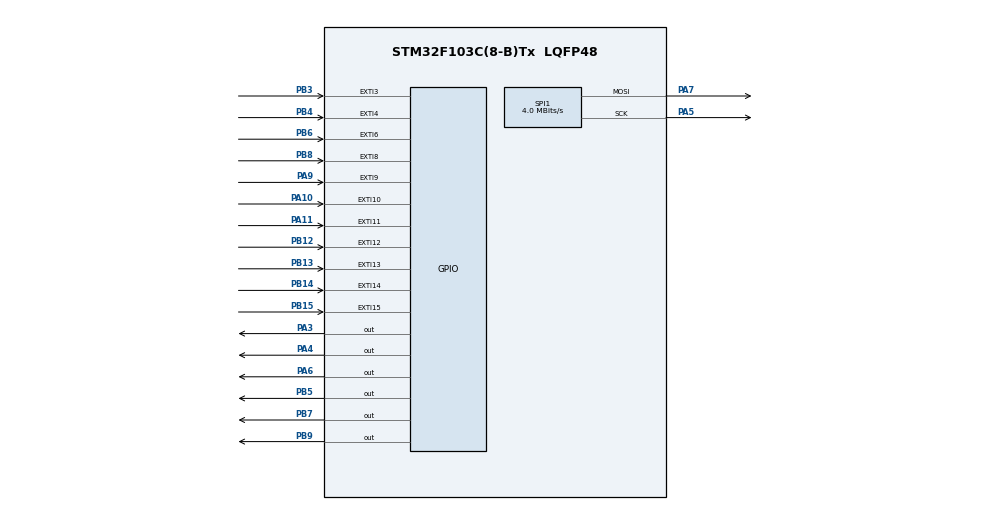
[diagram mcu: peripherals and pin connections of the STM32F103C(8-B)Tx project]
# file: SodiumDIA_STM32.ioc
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Mcu.Family=STM32F1
Mcu.Name=STM32F103C(8-B)Tx
Mcu.Package=LQFP48
NVIC.EXTI15_10_IRQn=true\:0\:0\:false\:false\:true\:true\:true\:true
NVIC.EXTI3_IRQn=true\:0\:0\:false\:false\:true\:true\:true\:true
NVIC.EXTI4_IRQn=true\:0\:0\:false\:false\:true\:true\:true\:true
NVIC.EXTI9_5_IRQn=true\:0\:0\:false\:false\:true\:true\:true\:true
NVIC.PriorityGroup=NVIC_PRIORITYGROUP_4
PA10.Signal=GPXTI10
PA11.Signal=GPXTI11
PA13.Mode=Serial_Wire
PA13.Signal=SYS_JTMS-SWDIO
PA14.Mode=Serial_Wire
PA14.Signal=SYS_JTCK-SWCLK
PA3.Signal=GPIO_Output
PA4.Signal=GPIO_Output
PA5.Mode=TX_Only_Simplex_Unidirect_Master
PA5.Signal=SPI1_SCK
PA6.Signal=GPIO_Output
PA7.Mode=TX_Only_Simplex_Unidirect_Master
PA7.Signal=SPI1_MOSI
PA9.Signal=GPXTI9
PB10.Signal=I2C2_SCL
PB11.Signal=I2C2_SDA
PB12.Signal=GPXTI12
PB13.Signal=GPXTI13
PB14.Signal=GPXTI14
PB15.Signal=GPXTI15
PB3.GPIO_PuPd=GPIO_PULLDOWN
PB3.Signal=GPXTI3
PB4.GPIO_PuPd=GPIO_PULLDOWN
PB4.Signal=GPXTI4
PB5.Signal=GPIO_Output
PB6.GPIO_PuPd=GPIO_PULLDOWN
PB6.Signal=GPXTI6
PB7.Signal=GPIO_Output
PB8.GPIO_PuPd=GPIO_PULLDOWN
PB8.Signal=GPXTI8
PB9.Signal=GPIO_Output
ProjectManager.HeapSize=0x200
ProjectManager.StackSize=0x400
ProjectManager.TargetToolchain=Makefile
RCC.APB1Freq_Value=8000000
RCC.APB2Freq_Value=8000000
SPI1.CalculateBaudRate=4.0 MBits/s
SPI1.Direction=SPI_DIRECTION_2LINES
SPI1.Mode=SPI_MODE_MASTER
SPI1.VirtualType=VM_MASTER
board=custom

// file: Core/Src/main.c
/* USER CODE BEGIN Header */
/**
 ******************************************************************************
 * @file           : main.c
 * @brief          : Main program body
 ******************************************************************************
 * @attention
 *
 * Copyright (c) 2026 STMicroelectronics.
 * All rights reserved.
 *
 * This software is licensed under terms that can be found in the LICENSE file
 * in the root directory of this software component.
 * If no LICENSE file comes with this software, it is provided AS-IS.
 *
 ******************************************************************************
 */
/* USER CODE END Header */
#include "main.h"

/* USER CODE BEGIN Includes */
#include "st7735.h"
#include "font.h"
#include "gui.h"
#include "app.h"
/* USER CODE END Includes */

SPI_HandleTypeDef hspi1;

void SystemClock_Config(void);
static void MX_GPIO_Init(void);
static void MX_SPI1_Init(void);

int main(void)
{

  /* MCU Configuration--------------------------------------------------------*/

  /* Reset of all peripherals, Initializes the Flash interface and the Systick. */
  HAL_Init();

  /* Configure the system clock */
  SystemClock_Config();

  /* Initialize all configured peripherals */
  MX_GPIO_Init();
  MX_SPI1_Init();
  /* USER CODE BEGIN 2 */
  uint8_t i = 0;
  uint8_t j = 0;
  ST7735_Init();
  /* USER CODE END 2 */

  /* Infinite loop */
  /* USER CODE BEGIN WHILE */
  ST7735_Select();
  ST7735_DrawRect(0, 0, ST7735_X_SIZE, ST7735_Y_SIZE, ST7735_COLOR_BLACK);
  ST7735_Deselect();
  uint16_t color_bg = 0;

  compile_gui();
  draw_gui();

  while (1)
  {
    ask_keyboard();
    /* USER CODE END WHILE */

    /* USER CODE BEGIN 3 */
    // ST7735_Select();
    // ST7735_DrawRect(0, 0, ST7735_X_SIZE, ST7735_Y_SIZE, ST7735_COLOR_RED);
    // ST7735_DrawRect(0, 0, ST7735_X_SIZE, ST7735_Y_SIZE, ST7735_COLOR_GREEN);
    // ST7735_DrawRect(0, 0, ST7735_X_SIZE, ST7735_Y_SIZE, ST7735_COLOR_BLUE);
    // ST7735_DrawRect(0, 0, ST7735_X_SIZE, ST7735_Y_SIZE, ST7735_COLOR_YELLOW);
    // ST7735_DrawRect(0, 0, ST7735_X_SIZE, ST7735_Y_SIZE, ST7735_COLOR_WHITE);
    // ST7735_DrawRect(0, 0, ST7735_X_SIZE, ST7735_Y_SIZE, ST7735_COLOR_BLACK);
    // ST7735_DrawRect(0, 0, ST7735_X_SIZE, ST7735_Y_SIZE, ST7735_COLOR_ORANGE);
    // ST7735_Deselect();
  }
  /* USER CODE END 3 */
}

void SystemClock_Config(void)
{
  RCC_OscInitTypeDef RCC_OscInitStruct = {0};
  RCC_ClkInitTypeDef RCC_ClkInitStruct = {0};

  /** Initializes the RCC Oscillators according to the specified parameters
   * in the RCC_OscInitTypeDef structure.
   */
  RCC_OscInitStruct.OscillatorType = RCC_OSCILLATORTYPE_HSI;
  RCC_OscInitStruct.HSIState = RCC_HSI_ON;
  RCC_OscInitStruct.HSICalibrationValue = RCC_HSICALIBRATION_DEFAULT;
  RCC_OscInitStruct.PLL.PLLState = RCC_PLL_NONE;
  if (HAL_RCC_OscConfig(&RCC_OscInitStruct) != HAL_OK)
  {
    Error_Handler();
  }

  /** Initializes the CPU, AHB and APB buses clocks
   */
  RCC_ClkInitStruct.ClockType = RCC_CLOCKTYPE_HCLK | RCC_CLOCKTYPE_SYSCLK | RCC_CLOCKTYPE_PCLK1 | RCC_CLOCKTYPE_PCLK2;
  RCC_ClkInitStruct.SYSCLKSource = RCC_SYSCLKSOURCE_HSI;
  RCC_ClkInitStruct.AHBCLKDivider = RCC_SYSCLK_DIV1;
  RCC_ClkInitStruct.APB1CLKDivider = RCC_HCLK_DIV1;
  RCC_ClkInitStruct.APB2CLKDivider = RCC_HCLK_DIV1;

  if (HAL_RCC_ClockConfig(&RCC_ClkInitStruct, FLASH_LATENCY_0) != HAL_OK)
  {
    Error_Handler();
  }
}

static void MX_SPI1_Init(void)
{

  /* SPI1 parameter configuration*/
  hspi1.Instance = SPI1;
  hspi1.Init.Mode = SPI_MODE_MASTER;
  hspi1.Init.Direction = SPI_DIRECTION_2LINES;
  hspi1.Init.DataSize = SPI_DATASIZE_8BIT;
  hspi1.Init.CLKPolarity = SPI_POLARITY_LOW;
  hspi1.Init.CLKPhase = SPI_PHASE_1EDGE;
  hspi1.Init.NSS = SPI_NSS_SOFT;
  hspi1.Init.BaudRatePrescaler = SPI_BAUDRATEPRESCALER_2;
  hspi1.Init.FirstBit = SPI_FIRSTBIT_MSB;
  hspi1.Init.TIMode = SPI_TIMODE_DISABLE;
  hspi1.Init.CRCCalculation = SPI_CRCCALCULATION_DISABLE;
  hspi1.Init.CRCPolynomial = 10;
  if (HAL_SPI_Init(&hspi1) != HAL_OK)
  {
    Error_Handler();
  }
}

static void MX_GPIO_Init(void)
{
  GPIO_InitTypeDef GPIO_InitStruct = {0};

  /* GPIO Ports Clock Enable */
  __HAL_RCC_GPIOA_CLK_ENABLE();
  __HAL_RCC_GPIOB_CLK_ENABLE();

  /*Configure GPIO pin Output Level */
  HAL_GPIO_WritePin(GPIOA, GPIO_PIN_3 | GPIO_PIN_4 | GPIO_PIN_6, GPIO_PIN_RESET);

  /*Configure GPIO pin Output Level */
  HAL_GPIO_WritePin(GPIOB, GPIO_PIN_5 | GPIO_PIN_7 | GPIO_PIN_9, GPIO_PIN_RESET);

  /*Configure GPIO pins : PA3 PA4 PA6 */
  GPIO_InitStruct.Pin = GPIO_PIN_3 | GPIO_PIN_4 | GPIO_PIN_6;
  GPIO_InitStruct.Mode = GPIO_MODE_OUTPUT_PP;
  GPIO_InitStruct.Pull = GPIO_NOPULL;
  GPIO_InitStruct.Speed = GPIO_SPEED_FREQ_LOW;
  HAL_GPIO_Init(GPIOA, &GPIO_InitStruct);

  /*Configure GPIO pins : PB10 PB11 */
  GPIO_InitStruct.Pin = GPIO_PIN_10 | GPIO_PIN_11;
  GPIO_InitStruct.Mode = GPIO_MODE_AF_OD;
  GPIO_InitStruct.Speed = GPIO_SPEED_FREQ_HIGH;
  HAL_GPIO_Init(GPIOB, &GPIO_InitStruct);

  /*Configure GPIO pins : PB12 PB13 PB14 PB15 */
  GPIO_InitStruct.Pin = GPIO_PIN_12 | GPIO_PIN_13 | GPIO_PIN_14 | GPIO_PIN_15;
  GPIO_InitStruct.Mode = GPIO_MODE_IT_RISING;
  GPIO_InitStruct.Pull = GPIO_NOPULL;
  HAL_GPIO_Init(GPIOB, &GPIO_InitStruct);

  /*Configure GPIO pins : PA9 PA10 PA11 */
  GPIO_InitStruct.Pin = GPIO_PIN_9 | GPIO_PIN_10 | GPIO_PIN_11;
  GPIO_InitStruct.Mode = GPIO_MODE_IT_RISING;
  GPIO_InitStruct.Pull = GPIO_NOPULL;
  HAL_GPIO_Init(GPIOA, &GPIO_InitStruct);

  /*Configure GPIO pins : PB3 PB4 PB6 PB8 */
  GPIO_InitStruct.Pin = GPIO_PIN_3 | GPIO_PIN_4 | GPIO_PIN_6 | GPIO_PIN_8;
  GPIO_InitStruct.Mode = GPIO_MODE_IT_RISING;
  GPIO_InitStruct.Pull = GPIO_PULLDOWN;
  HAL_GPIO_Init(GPIOB, &GPIO_InitStruct);

  /*Configure GPIO pins : PB5 PB7 PB9 */
  GPIO_InitStruct.Pin = GPIO_PIN_5 | GPIO_PIN_7 | GPIO_PIN_9;
  GPIO_InitStruct.Mode = GPIO_MODE_OUTPUT_PP;
  GPIO_InitStruct.Pull = GPIO_NOPULL;
  GPIO_InitStruct.Speed = GPIO_SPEED_FREQ_LOW;
  HAL_GPIO_Init(GPIOB, &GPIO_InitStruct);

  /* EXTI interrupt init*/
  HAL_NVIC_SetPriority(EXTI3_IRQn, 0, 0);
  HAL_NVIC_EnableIRQ(EXTI3_IRQn);

  HAL_NVIC_SetPriority(EXTI4_IRQn, 0, 0);
  HAL_NVIC_EnableIRQ(EXTI4_IRQn);

  HAL_NVIC_SetPriority(EXTI9_5_IRQn, 0, 0);
  HAL_NVIC_EnableIRQ(EXTI9_5_IRQn);

  HAL_NVIC_SetPriority(EXTI15_10_IRQn, 0, 0);
  HAL_NVIC_EnableIRQ(EXTI15_10_IRQn);

}

/* USER CODE BEGIN 4 */
void HAL_GPIO_EXTI_Callback(uint16_t GPIO_Pin)
{
  if (GPIO_Pin == GPIO_PIN_12)
  {
    // Ваш код обработки прерывания для пина 0 (например, кнопки)
    set_mode(0); // Переключение между режимами
  }
  if (GPIO_Pin == GPIO_PIN_13)
  {
    // Ваш код обработки прерывания для пина 0 (например, кнопки)
    set_mode(1); // Переключение между режимами
  }
  if (GPIO_Pin == GPIO_PIN_14)
  {
    // Ваш код обработки прерывания для пина 0 (например, кнопки)
    set_mode(2); // Переключение между режимами
  }
  if (GPIO_Pin == GPIO_PIN_15)
  {
    // Ваш код обработки прерывания для пина 0 (например, кнопки)
    set_mode(3); // Переключение между режимами
  }
  handle_event(get_event(GPIO_Pin));
}
/* USER CODE END 4 */

void Error_Handler(void)
{
  __disable_irq();
  while (1)
  {
  }
}
